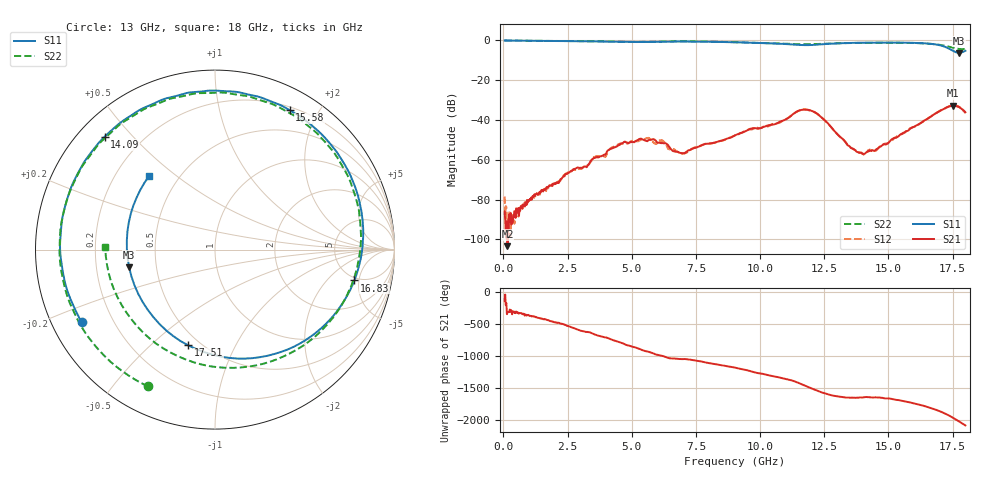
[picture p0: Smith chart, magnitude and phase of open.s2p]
!Agilent Technologies,E8364A,US41440284,A.06.04.32
!Agilent E8364A: A.06.04.32
!Date: Friday, December 06, 2019 10:00:41
!Correction: S11(Full 2 Port(1,2)) S21(Full 2 Port(1,2)) S12(Full 2 Port(1,2)) S22(Full 2 Port(1,2))
!S2P File: Measurements: S11, S21, S12, S22:
# Hz S  MA  R 50
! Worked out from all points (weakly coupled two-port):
!   801 points, 45 MHz to 18 GHz, reference 50 ohm
!   highest |S21| = -32.83 dB at 17.53 GHz (marker M1); lowest = -103.4 dB at 157.2 MHz (marker M2)
!   lowest |S11| = -6.2 dB at 17.75 GHz (marker M3), VSWR 2.91, Z = 17.4 - j4.53 ohm
!   |S11| at or under -10 dB: nowhere
!   |S22| runs from -4.4 to 0.0 dB; largest |S21 - S12| = 0.0012
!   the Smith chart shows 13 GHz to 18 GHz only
!   S11 on the Smith chart (normalised r, x): 13 GHz: 0.09, -0.25; 14.09 GHz: 0.08, +0.42; 15.58 GHz: 0.24, +1.64; 16.83 GHz: 4.63, -4.33; 17.51 GHz: 0.43, -0.67; 18 GHz: 0.34, +0.40
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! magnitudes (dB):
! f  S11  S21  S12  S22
! 45 MHz  0.0  -86.1  -78.5  0.0
! 157.2 MHz  0.0  -103.4  -90.2  0.0
! 1.01 GHz  -0.2  -80.5  -80.8  -0.1
! 2.514 GHz  -0.3  -66.7  -66.3  -0.3
! 3.052 GHz  -0.4  -64.0  -64.4  -0.4
! 4.668 GHz  -0.7  -51.3  -51.9  -0.7
! 6.037 GHz  -0.7  -51.4  -50.7  -0.6
! 7.025 GHz  -0.5  -56.8  -56.7  -0.4
! 9.023 GHz  -0.9  -47.7  -47.8  -0.9
! 10.75 GHz  -1.6  -41.0  -41.4  -1.5
! 11.6 GHz  -2.3  -34.9  -34.9  -1.9
! 12.03 GHz  -2.3  -35.5  -35.4  -1.8
! 13 GHz  -1.5  -46.9  -46.9  -1.4
! 13.51 GHz  -1.2  -53.5  -53.6  -1.3
! 14.09 GHz  -1.1  -56.8  -57.2  -1.2
! 15.01 GHz  -1.1  -51.3  -51.3  -1.2
! 15.58 GHz  -1.1  -46.4  -46.7  -1.2
! 16.83 GHz  -2.0  -36.7  -36.7  -1.9
! 17.51 GHz  -5.1  -32.9  -32.6  -3.6
! 17.53 GHz  -5.3  -32.8  -32.5  -3.7
! 17.75 GHz  -6.2  -33.5  -33.3  -4.3
! 18 GHz  -5.2  -36.1  -36.5  -4.3
